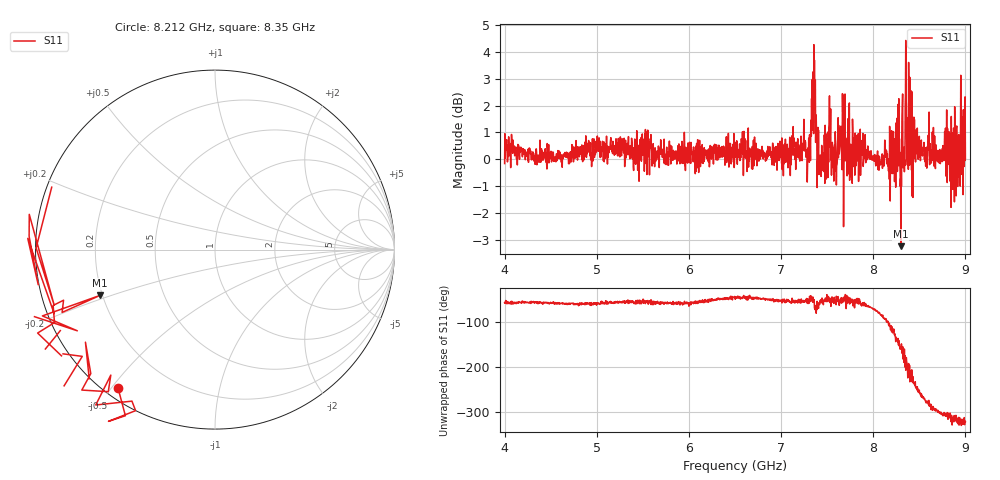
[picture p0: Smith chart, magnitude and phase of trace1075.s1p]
! Created with skrf 1.8.0 (http://scikit-rf.org).
# Hz S RI R 50.0
!freq ReS11 ImS11
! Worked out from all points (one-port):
!   1601 points, 4 GHz to 9 GHz, reference 50 ohm
!   lowest |S11| = -3.2 dB at 8.3 GHz (marker M1), VSWR 5.43, Z = 9.54 - j9.26 ohm
!   |S11| at or under -10 dB: nowhere
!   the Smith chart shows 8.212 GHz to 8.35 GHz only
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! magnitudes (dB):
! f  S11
! 4 GHz  -0.2
! 4.625 GHz  -0.3
! 5.25 GHz  0.1
! 5.875 GHz  0.3
! 6.5 GHz  0.6
! 7.125 GHz  0.6
! 7.294 GHz  0.4
! 7.356 GHz  4.3
! 7.412 GHz  -0.1
! 7.538 GHz  1.9
! 7.588 GHz  1.0
! 7.65 GHz  1.2
! 7.75 GHz  -0.2
! 7.769 GHz  -0.3
! 8.075 GHz  -0.1
! 8.222 GHz  0.0
! 8.259 GHz  1.1
! 8.3 GHz  -3.2
! 8.319 GHz  2.4
! 8.334 GHz  0.5
! 8.347 GHz  2.0
! 8.375 GHz  1.6
! 8.447 GHz  1.5
! 8.694 GHz  0.1
! 8.8 GHz  -0.2
! 8.919 GHz  0.0
! 8.972 GHz  -0.2
! 9 GHz  0.0
